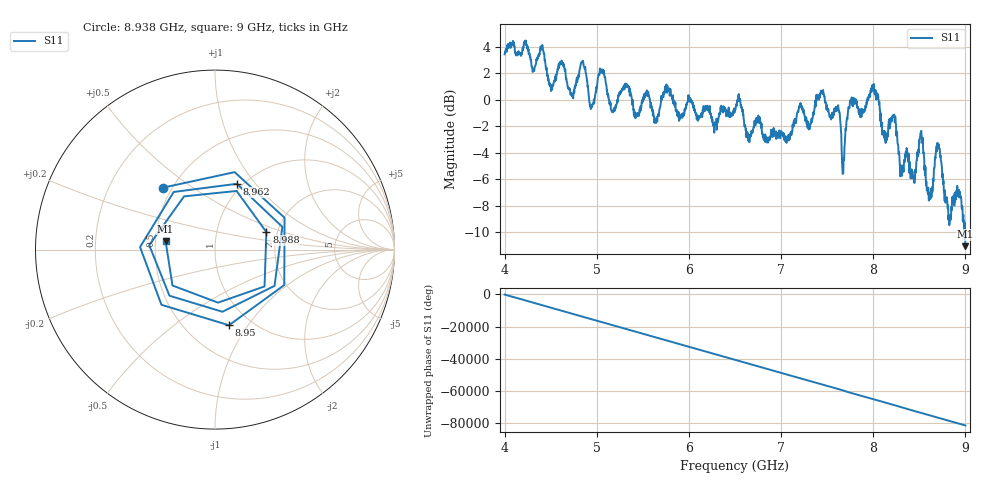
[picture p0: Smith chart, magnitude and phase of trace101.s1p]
! Created with skrf 1.8.0 (http://scikit-rf.org).
# Hz S RI R 50.0
!freq ReS11 ImS11
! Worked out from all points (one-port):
!   1601 points, 4 GHz to 9 GHz, reference 50 ohm
!   lowest |S11| = -11.1 dB at 9 GHz (marker M1), VSWR 1.78, Z = 28.3 + j2.97 ohm
!   |S11| at or under -10 dB: 8.98674 GHz to 8.989035 GHz (2.295 MHz wide, 0.0255 % of centre); 8.992679 GHz to end of sweep
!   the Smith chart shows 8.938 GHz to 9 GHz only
!   S11 on the Smith chart (normalised r, x): 8.938 GHz: 0.45, +0.39; 8.95 GHz: 0.79, -0.82; 8.962 GHz: 0.94, +0.81; 8.988 GHz: 1.75, +0.38; 9 GHz: 0.57, +0.06
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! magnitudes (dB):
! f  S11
! 4 GHz  3.5
! 4.625 GHz  2.8
! 4.731 GHz  0.4
! 4.85 GHz  3.0
! 4.941 GHz  -0.5
! 5.05 GHz  2.1
! 5.25 GHz  0.4
! 5.875 GHz  -1.2
! 6.5 GHz  -0.7
! 7.125 GHz  -1.9
! 7.447 GHz  0.7
! 7.616 GHz  -0.6
! 7.678 GHz  -4.5
! 7.75 GHz  0.0
! 8 GHz  0.9
! 8.122 GHz  -2.8
! 8.222 GHz  -1.3
! 8.375 GHz  -4.1
! 8.438 GHz  -5.8
! 8.522 GHz  -2.3
! 8.616 GHz  -7.5
! 8.706 GHz  -3.6
! 8.825 GHz  -9.5
! 8.938 GHz  -6.9
! 8.95 GHz  -7.4
! 8.962 GHz  -8.3
! 8.988 GHz  -10.4
! 9 GHz  -11.1
